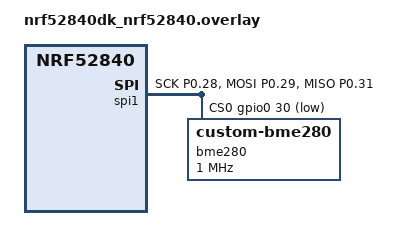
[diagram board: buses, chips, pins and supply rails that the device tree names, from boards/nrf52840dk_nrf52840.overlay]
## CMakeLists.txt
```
#-------------------------------------------------------------------------------
# Zephyr Example Application
#
# Copyright (c) 2021 Nordic Semiconductor ASA
# SPDX-License-Identifier: Apache-2.0

cmake_minimum_required(VERSION 3.21)

# STEP 8.1 Add external module
list(APPEND EXTRA_ZEPHYR_MODULES
  ${CMAKE_CURRENT_SOURCE_DIR}/../custom_driver_module
)

find_package(Zephyr REQUIRED HINTS $ENV{ZEPHYR_BASE})

project(app LANGUAGES C)

target_sources(app PRIVATE src/main.c)
```

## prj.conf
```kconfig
CONFIG_LOG=y

CONFIG_CBPRINTF_FP_SUPPORT=y
CONFIG_RESET_ON_FATAL_ERROR=n

# STEP 8.2 - Enable Kconfigs for SPI and GPIO
CONFIG_GPIO=y
CONFIG_SPI=y
CONFIG_SENSOR=y
CONFIG_CUSTOM_BME280=y
```

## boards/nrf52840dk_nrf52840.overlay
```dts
&i2c0 {	status = "disabled";};
&spi0 {	status = "disabled";};
&i2c1 {	status = "disabled";};
	
&spi1 {
    compatible = "nordic,nrf-spim";
	status = "okay";
	pinctrl-0 = <&spi1_default>;
	pinctrl-1 = <&spi1_sleep>;
	pinctrl-names = "default", "sleep";
	cs-gpios = <&gpio0 30 GPIO_ACTIVE_LOW>;

/* STEP 8.3 Create bme280 node */
	bme280: bme280@0 {
		compatible = "zephyr,custom-bme280";
		reg = <0>;
		spi-max-frequency = <1000000>; 
	};
};

&pinctrl {
	spi1_default: spi1_default {
		group1 {
				psels = <NRF_PSEL(SPIM_SCK, 0, 28)>,
						<NRF_PSEL(SPIM_MOSI, 0, 29)>,
						<NRF_PSEL(SPIM_MISO, 0, 31)>;
		};
	};

	spi1_sleep: spi1_sleep {
		group1 {
				psels = <NRF_PSEL(SPIM_SCK, 0, 28)>,
						<NRF_PSEL(SPIM_MOSI, 0, 29)>,
						<NRF_PSEL(SPIM_MISO, 0, 31)>;
				low-power-enable;
		};
	};
};
```

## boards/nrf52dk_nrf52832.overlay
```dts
/* STEP 2.1 - Add the SPI peripheral to spi1 */
&i2c0 {	status = "disabled";};
&spi0 {	status = "disabled";};
&i2c1 {	status = "disabled";};
	
&spi1 {
    compatible = "nordic,nrf-spi"; //using SPI as per ERRATA 58
	status = "okay";
	pinctrl-0 = <&spi1_default>;
	pinctrl-1 = <&spi1_sleep>;
	pinctrl-names = "default", "sleep";
	cs-gpios = <&gpio0 30 GPIO_ACTIVE_LOW>;

/* STEP 8.3 Create bme280 node */
	bme280: bme280@0 {
		compatible = "zephyr,custom-bme280";
		reg = <0>;
		spi-max-frequency = <1000000>; 
	};
};


&pinctrl {
	spi1_default: spi1_default {
		group1 {
				psels = <NRF_PSEL(SPIM_SCK, 0, 28)>,
						<NRF_PSEL(SPIM_MOSI, 0, 29)>,
						<NRF_PSEL(SPIM_MISO, 0, 31)>;
		};
	};

	spi1_sleep: spi1_sleep {
		group1 {
				psels = <NRF_PSEL(SPIM_SCK, 0, 28)>,
						<NRF_PSEL(SPIM_MOSI, 0, 29)>,
						<NRF_PSEL(SPIM_MISO, 0, 31)>;
				low-power-enable;
		};
	};
};
```

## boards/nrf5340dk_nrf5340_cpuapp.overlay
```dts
/* STEP 2.1 - Add the SPI peripheral to spi1 */
&i2c0 {	status = "disabled";};
&spi0 {	status = "disabled";};
&i2c1 {	status = "disabled";};
	
&spi1 {
    compatible = "nordic,nrf-spim";
	status = "okay";
	pinctrl-0 = <&spi1_default>;
	pinctrl-1 = <&spi1_sleep>;
	pinctrl-names = "default", "sleep";
	cs-gpios = <&gpio0 25 GPIO_ACTIVE_LOW>;

/* STEP 8.3 Create bme280 node */
	bme280: bme280@0 {
		compatible = "zephyr,custom-bme280";
		reg = <0>;
		spi-max-frequency = <1000000>; 
	};
};

/* STEP 2.2 - Change the pin configuration */
&pinctrl {
	spi1_default: spi1_default {
		group1 {
				psels = <NRF_PSEL(SPIM_SCK, 0, 6)>,
						<NRF_PSEL(SPIM_MOSI, 0, 7)>,
						<NRF_PSEL(SPIM_MISO, 0, 26)>;
		};
	};

	spi1_sleep: spi1_sleep {
		group1 {
				psels = <NRF_PSEL(SPIM_SCK, 0, 6)>,
						<NRF_PSEL(SPIM_MOSI, 0, 7)>,
						<NRF_PSEL(SPIM_MISO, 0, 26)>;
				low-power-enable;
		};
	};
};
```

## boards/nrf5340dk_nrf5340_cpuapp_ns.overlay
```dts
&i2c0 {	status = "disabled";};
&spi0 {	status = "disabled";};
&i2c1 {	status = "disabled";};
	
&spi1 {
    compatible = "nordic,nrf-spim";
	status = "okay";
	pinctrl-0 = <&spi1_default>;
	pinctrl-1 = <&spi1_sleep>;
	pinctrl-names = "default", "sleep";
	cs-gpios = <&gpio0 25 GPIO_ACTIVE_LOW>;

/* STEP 8.3 Create bme280 node */
	bme280: bme280@0 {
		compatible = "zephyr,custom-bme280";
		reg = <0>;
		spi-max-frequency = <1000000>; 
	};
};

&pinctrl {
	spi1_default: spi1_default {
		group1 {
				psels = <NRF_PSEL(SPIM_SCK, 0, 6)>,
						<NRF_PSEL(SPIM_MOSI, 0, 7)>,
						<NRF_PSEL(SPIM_MISO, 0, 26)>;
		};
	};

	spi1_sleep: spi1_sleep {
		group1 {
				psels = <NRF_PSEL(SPIM_SCK, 0, 6)>,
						<NRF_PSEL(SPIM_MOSI, 0, 7)>,
						<NRF_PSEL(SPIM_MISO, 0, 26)>;
				low-power-enable;
		};
	};
};
```

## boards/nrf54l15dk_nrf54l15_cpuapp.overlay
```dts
&spi21 {
    compatible = "nordic,nrf-spim";
	status = "okay";
	pinctrl-0 = <&spi21_default>;
	pinctrl-1 = <&spi21_sleep>;
	pinctrl-names = "default", "sleep";
	cs-gpios = <&gpio1 8 GPIO_ACTIVE_LOW>;

	/* STEP 8.3 Create bme280 node */
	bme280: bme280@0 {
		compatible = "zephyr,custom-bme280";
		reg = <0>;
		spi-max-frequency = <1000000>; // 1MHz
	};
};

&pinctrl {
	spi21_default: spi21_default {
		group1 {
				psels = <NRF_PSEL(SPIM_SCK, 1, 11)>, 
						<NRF_PSEL(SPIM_MOSI, 1, 13)>,
						<NRF_PSEL(SPIM_MISO, 1, 14)>;
		};
	};

	spi21_sleep: spi21_sleep {
		group1 {
				psels = <NRF_PSEL(SPIM_SCK, 1, 11)>,
						<NRF_PSEL(SPIM_MOSI, 1, 13)>,
						<NRF_PSEL(SPIM_MISO, 1, 14)>;
				low-power-enable;
		};
	};
};
```

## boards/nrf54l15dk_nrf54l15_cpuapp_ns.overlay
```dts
&spi21 {
    compatible = "nordic,nrf-spim";
	status = "okay";
	pinctrl-0 = <&spi21_default>;
	pinctrl-1 = <&spi21_sleep>;
	pinctrl-names = "default", "sleep";
	cs-gpios = <&gpio1 8 GPIO_ACTIVE_LOW>;

/* STEP 8.3 Create bme280 node */
	bme280: bme280@0 {
		compatible = "zephyr,custom-bme280";
		reg = <0>;
		spi-max-frequency = <1000000>; // 1MHz
	};
};

&pinctrl {
	spi21_default: spi21_default {
		group1 {
				psels = <NRF_PSEL(SPIM_SCK, 1, 11)>,
						<NRF_PSEL(SPIM_MOSI, 1, 13)>,
						<NRF_PSEL(SPIM_MISO, 1, 14)>;
		};
	};

	spi21_sleep: spi21_sleep {
		group1 {
				psels = <NRF_PSEL(SPIM_SCK, 1, 11)>,
						<NRF_PSEL(SPIM_MOSI, 1, 13)>,
						<NRF_PSEL(SPIM_MISO, 1, 14)>;
				low-power-enable;
		};
	};
};
```

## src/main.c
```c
/*
 * Copyright (c) 2021 Nordic Semiconductor ASA
 * SPDX-License-Identifier: Apache-2.0
 */

 #include <zephyr/kernel.h>
 #include <zephyr/drivers/sensor.h>
 #include <zephyr/logging/log.h>
 
 LOG_MODULE_REGISTER(Lesson7_Exercise1, LOG_LEVEL_INF);
 
 /* STEP 16 - Get the device structure from the node label */
 const struct device * dev = DEVICE_DT_GET(DT_NODELABEL(bme280));
 
 int main(void)
 {
     int err;
 
     LOG_INF("Lesson 7 - Exercise 1 started");
 
     /* STEP 17.1 - Define variables to store the temperature, pressure and humidity */
     struct sensor_value temp_val, press_val, hum_val;
 
     err = device_is_ready(dev);
     if (!err) {
         LOG_INF("Error: SPI device is not ready, err: %d", err);
         return 0;
     }
 
     while (1) {
         /* STEP 17.2 - Continuously read out sensor data using the sensor API calls */
         err = sensor_sample_fetch(dev);
         if (err < 0) {
             LOG_ERR("Could not fetch sample (%d)", err);
             return 0;
         }
 
         if (sensor_channel_get(dev, SENSOR_CHAN_AMBIENT_TEMP, &temp_val)) {
             LOG_ERR("Could not get sample");
             return 0;
         }
         
         if (sensor_channel_get(dev, SENSOR_CHAN_PRESS, &press_val)) {
             LOG_ERR("Could not get sample");
             return 0;
         }
     
         if (sensor_channel_get(dev, SENSOR_CHAN_HUMIDITY, &hum_val)) {
             LOG_ERR("Could not get sample");
             return 0;
         }
 
         LOG_INF("Compensated temperature value: %d", temp_val.val1);
         LOG_INF("Compensated pressure value: %d", press_val.val1);
         LOG_INF("Compensated humidity value: %d", hum_val.val1);
         
         k_sleep(K_MSEC(1000));
     }
     
     return 0;
 }
```
